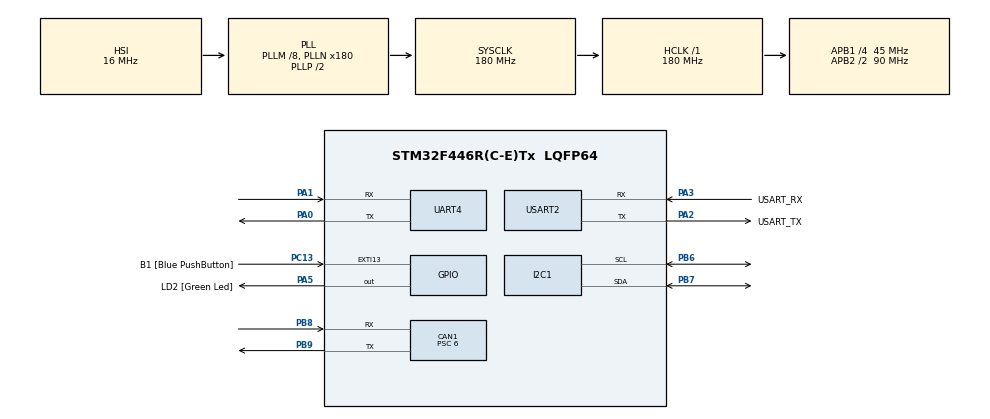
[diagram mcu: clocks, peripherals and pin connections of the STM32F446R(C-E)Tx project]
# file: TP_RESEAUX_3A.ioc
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CAN1.BS1=CAN_BS1_12TQ
CAN1.BS2=CAN_BS2_2TQ
CAN1.CalculateBaudRate=500000
CAN1.CalculateTimeBit=1999
CAN1.CalculateTimeQuantum=133.33333333333331
CAN1.Prescaler=6
Mcu.Family=STM32F4
Mcu.Name=STM32F446R(C-E)Tx
Mcu.Package=LQFP64
NVIC.PriorityGroup=NVIC_PRIORITYGROUP_0
NVIC.UART4_IRQn=true\:0\:0\:false\:false\:true\:true\:true\:true
PA0-WKUP.Mode=Asynchronous
PA0-WKUP.Signal=UART4_TX
PA1.Mode=Asynchronous
PA1.Signal=UART4_RX
PA13.GPIO_Label=TMS
PA13.Mode=Serial_Wire
PA13.Signal=SYS_JTMS-SWDIO
PA14.GPIO_Label=TCK
PA14.Mode=Serial_Wire
PA14.Signal=SYS_JTCK-SWCLK
PA2.GPIO_Label=USART_TX
PA2.Mode=Asynchronous
PA2.Signal=USART2_TX
PA3.GPIO_Label=USART_RX
PA3.Mode=Asynchronous
PA3.Signal=USART2_RX
PA5.GPIO_Label=LD2 [Green Led]
PA5.Signal=GPIO_Output
PB3.GPIO_Label=SWO
PB3.Signal=SYS_JTDO-SWO
PB6.Mode=I2C
PB6.Signal=I2C1_SCL
PB7.Mode=I2C
PB7.Signal=I2C1_SDA
PB8.Mode=CAN_Activate
PB8.Signal=CAN1_RX
PB9.Mode=CAN_Activate
PB9.Signal=CAN1_TX
PC13.GPIO_Label=B1 [Blue PushButton]
PC13.GPIO_ModeDefaultEXTI=GPIO_MODE_IT_FALLING
PC13.Signal=GPXTI13
PC14-OSC32_IN.Mode=LSE-External-Oscillator
PC14-OSC32_IN.Signal=RCC_OSC32_IN
PC15-OSC32_OUT.Mode=LSE-External-Oscillator
PC15-OSC32_OUT.Signal=RCC_OSC32_OUT
PH0-OSC_IN.Mode=HSE-External-Oscillator
PH0-OSC_IN.Signal=RCC_OSC_IN
PH1-OSC_OUT.Mode=HSE-External-Oscillator
PH1-OSC_OUT.Signal=RCC_OSC_OUT
ProjectManager.HeapSize=0x200
ProjectManager.StackSize=0x400
ProjectManager.TargetToolchain=STM32CubeIDE
RCC.48MHZClocksFreq_Value=84000000
RCC.AHBFreq_Value=180000000
RCC.APB1CLKDivider=RCC_HCLK_DIV4
RCC.APB1Freq_Value=45000000
RCC.APB1TimFreq_Value=90000000
RCC.APB2CLKDivider=RCC_HCLK_DIV2
RCC.APB2Freq_Value=90000000
RCC.APB2TimFreq_Value=180000000
RCC.CortexFreq_Value=180000000
RCC.FLatency-AdvancedSettings=FLASH_LATENCY_5
RCC.HCLKFreq_Value=180000000
RCC.HSE_VALUE=8000000
RCC.HSI_VALUE=16000000
RCC.PLLM=8
RCC.PLLN=180
RCC.SYSCLKFreq_VALUE=180000000
RCC.SYSCLKSource=RCC_SYSCLKSOURCE_PLLCLK
RCC.USBFreq_Value=180000000
RCC.VCOOutputFreq_Value=360000000
UART4.VirtualMode=Asynchronous
USART2.VirtualMode=VM_ASYNC
board=NUCLEO-F446RE

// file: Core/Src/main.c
/* USER CODE BEGIN Header */
/**
  ******************************************************************************
  * @file           : main.c
  * @brief          : Main program body
  ******************************************************************************
  * @attention
  *
  * Copyright (c) 2023 STMicroelectronics.
  * All rights reserved.
  *
  * This software is licensed under terms that can be found in the LICENSE file
  * in the root directory of this software component.
  * If no LICENSE file comes with this software, it is provided AS-IS.
  *
  ******************************************************************************
  */
/* USER CODE END Header */
#include "main.h"

/* USER CODE BEGIN Includes */
#include "uart4.h"
#include "BMP280.h"
#include "motor.h"
/* USER CODE END Includes */

CAN_HandleTypeDef hcan1;

I2C_HandleTypeDef hi2c1;

UART_HandleTypeDef huart4;
UART_HandleTypeDef huart2;

/* USER CODE BEGIN PV */
BMP280_HandleTypedef bmp280;
bmp280_params_t bmp_params;
enum CMD_type CMD_UART;
/* USER CODE END PV */

void SystemClock_Config(void);
static void MX_GPIO_Init(void);
static void MX_USART2_UART_Init(void);
static void MX_UART4_Init(void);
static void MX_CAN1_Init(void);
static void MX_I2C1_Init(void);

/* USER CODE BEGIN 0 */
extern uint8_t uartTxBuffer;
/* USER CODE END 0 */

int main(void)
{

  /* MCU Configuration--------------------------------------------------------*/

  /* Reset of all peripherals, Initializes the Flash interface and the Systick. */
  HAL_Init();

  /* Configure the system clock */
  SystemClock_Config();

  /* Initialize all configured peripherals */
  MX_GPIO_Init();
  MX_USART2_UART_Init();
  MX_UART4_Init();
  MX_CAN1_Init();
  MX_I2C1_Init();
  /* USER CODE BEGIN 2 */
  Prepare_Receive(&CMD_UART);
  bmp280_init_default_params(&bmp_params);
  bmp280.addr = BMP280_I2C_ADDRESS_1;
  bmp280.i2c = &hi2c1;
  bmp280_init(&bmp280,&bmp_params);
  /* USER CODE END 2 */

  /* Infinite loop */
  /* USER CODE BEGIN WHILE */

  HAL_CAN_Start (&hcan1);
  set_motor_angle(0);
  HAL_Delay(3000);
  reset_motor_angle();

  while (1)
  {
	switch(CMD_UART)
	{
	case Null: break;
	float Tempe = 0.0;
	float Press = 0.0;
	float Humid = 0.0;
	float Angle = 0.0;
	case GET_T:
		bmp280_read_float(&bmp280, &Tempe, &Press, &Humid);
		printf("T = + %2.2f_C\r\n", Tempe);
		Print_RESULT_float(CMD_UART, Tempe);
		CMD_UART = Null ; break;

	case GET_P:
		bmp280_read_float(&bmp280, &Tempe, &Press, &Humid);
		printf("P = %8.0f_Pa\r\n", Press);
		Print_RESULT_float(CMD_UART, Press);
		CMD_UART = Null ; break;

	case SET_K:
		printf("Set_K Cmd recognized \r\n");
		CMD_UART = Null ; break;

	case GET_K:
		printf("Get_K Cmd recognized \r\n");
		Print_RESULT_float(CMD_UART, Null);
		CMD_UART = Null ; break;

	case GET_A:
		Angle = (float)(get_motor_angle());
		printf("A = %3.0f_Pa\r\n", Angle);
		Print_RESULT_float(CMD_UART, Angle);
		CMD_UART = Null ; break;

	case SET_A:
		printf("Set_A Cmd recognized \r\n");
		Print_RESULT_float(CMD_UART,Null);
		CMD_UART = Null ; break;
	}
    /* USER CODE END WHILE */

  }
}

void SystemClock_Config(void)
{
  RCC_OscInitTypeDef RCC_OscInitStruct = {0};
  RCC_ClkInitTypeDef RCC_ClkInitStruct = {0};

  /** Configure the main internal regulator output voltage
  */
  __HAL_RCC_PWR_CLK_ENABLE();
  __HAL_PWR_VOLTAGESCALING_CONFIG(PWR_REGULATOR_VOLTAGE_SCALE1);

  /** Initializes the RCC Oscillators according to the specified parameters
  * in the RCC_OscInitTypeDef structure.
  */
  RCC_OscInitStruct.OscillatorType = RCC_OSCILLATORTYPE_HSI;
  RCC_OscInitStruct.HSIState = RCC_HSI_ON;
  RCC_OscInitStruct.HSICalibrationValue = RCC_HSICALIBRATION_DEFAULT;
  RCC_OscInitStruct.PLL.PLLState = RCC_PLL_ON;
  RCC_OscInitStruct.PLL.PLLSource = RCC_PLLSOURCE_HSI;
  RCC_OscInitStruct.PLL.PLLM = 8;
  RCC_OscInitStruct.PLL.PLLN = 180;
  RCC_OscInitStruct.PLL.PLLP = RCC_PLLP_DIV2;
  RCC_OscInitStruct.PLL.PLLQ = 2;
  RCC_OscInitStruct.PLL.PLLR = 2;
  if (HAL_RCC_OscConfig(&RCC_OscInitStruct) != HAL_OK)
  {
    Error_Handler();
  }

  /** Activate the Over-Drive mode
  */
  if (HAL_PWREx_EnableOverDrive() != HAL_OK)
  {
    Error_Handler();
  }

  /** Initializes the CPU, AHB and APB buses clocks
  */
  RCC_ClkInitStruct.ClockType = RCC_CLOCKTYPE_HCLK|RCC_CLOCKTYPE_SYSCLK
                              |RCC_CLOCKTYPE_PCLK1|RCC_CLOCKTYPE_PCLK2;
  RCC_ClkInitStruct.SYSCLKSource = RCC_SYSCLKSOURCE_PLLCLK;
  RCC_ClkInitStruct.AHBCLKDivider = RCC_SYSCLK_DIV1;
  RCC_ClkInitStruct.APB1CLKDivider = RCC_HCLK_DIV4;
  RCC_ClkInitStruct.APB2CLKDivider = RCC_HCLK_DIV2;

  if (HAL_RCC_ClockConfig(&RCC_ClkInitStruct, FLASH_LATENCY_5) != HAL_OK)
  {
    Error_Handler();
  }
}

static void MX_CAN1_Init(void)
{

  hcan1.Instance = CAN1;
  hcan1.Init.Prescaler = 6;
  hcan1.Init.Mode = CAN_MODE_NORMAL;
  hcan1.Init.SyncJumpWidth = CAN_SJW_1TQ;
  hcan1.Init.TimeSeg1 = CAN_BS1_12TQ;
  hcan1.Init.TimeSeg2 = CAN_BS2_2TQ;
  hcan1.Init.TimeTriggeredMode = DISABLE;
  hcan1.Init.AutoBusOff = DISABLE;
  hcan1.Init.AutoWakeUp = DISABLE;
  hcan1.Init.AutoRetransmission = DISABLE;
  hcan1.Init.ReceiveFifoLocked = DISABLE;
  hcan1.Init.TransmitFifoPriority = DISABLE;
  if (HAL_CAN_Init(&hcan1) != HAL_OK)
  {
    Error_Handler();
  }

}

static void MX_I2C1_Init(void)
{

  hi2c1.Instance = I2C1;
  hi2c1.Init.ClockSpeed = 100000;
  hi2c1.Init.DutyCycle = I2C_DUTYCYCLE_2;
  hi2c1.Init.OwnAddress1 = 0;
  hi2c1.Init.AddressingMode = I2C_ADDRESSINGMODE_7BIT;
  hi2c1.Init.DualAddressMode = I2C_DUALADDRESS_DISABLE;
  hi2c1.Init.OwnAddress2 = 0;
  hi2c1.Init.GeneralCallMode = I2C_GENERALCALL_DISABLE;
  hi2c1.Init.NoStretchMode = I2C_NOSTRETCH_DISABLE;
  if (HAL_I2C_Init(&hi2c1) != HAL_OK)
  {
    Error_Handler();
  }

}

static void MX_UART4_Init(void)
{

  huart4.Instance = UART4;
  huart4.Init.BaudRate = 115200;
  huart4.Init.WordLength = UART_WORDLENGTH_8B;
  huart4.Init.StopBits = UART_STOPBITS_1;
  huart4.Init.Parity = UART_PARITY_NONE;
  huart4.Init.Mode = UART_MODE_TX_RX;
  huart4.Init.HwFlowCtl = UART_HWCONTROL_NONE;
  huart4.Init.OverSampling = UART_OVERSAMPLING_16;
  if (HAL_UART_Init(&huart4) != HAL_OK)
  {
    Error_Handler();
  }

}

static void MX_USART2_UART_Init(void)
{

  huart2.Instance = USART2;
  huart2.Init.BaudRate = 115200;
  huart2.Init.WordLength = UART_WORDLENGTH_8B;
  huart2.Init.StopBits = UART_STOPBITS_1;
  huart2.Init.Parity = UART_PARITY_NONE;
  huart2.Init.Mode = UART_MODE_TX_RX;
  huart2.Init.HwFlowCtl = UART_HWCONTROL_NONE;
  huart2.Init.OverSampling = UART_OVERSAMPLING_16;
  if (HAL_UART_Init(&huart2) != HAL_OK)
  {
    Error_Handler();
  }

}

static void MX_GPIO_Init(void)
{
  GPIO_InitTypeDef GPIO_InitStruct = {0};

  /* GPIO Ports Clock Enable */
  __HAL_RCC_GPIOC_CLK_ENABLE();
  __HAL_RCC_GPIOH_CLK_ENABLE();
  __HAL_RCC_GPIOA_CLK_ENABLE();
  __HAL_RCC_GPIOB_CLK_ENABLE();

  /*Configure GPIO pin Output Level */
  HAL_GPIO_WritePin(LD2_GPIO_Port, LD2_Pin, GPIO_PIN_RESET);

  /*Configure GPIO pin : B1_Pin */
  GPIO_InitStruct.Pin = B1_Pin;
  GPIO_InitStruct.Mode = GPIO_MODE_IT_FALLING;
  GPIO_InitStruct.Pull = GPIO_NOPULL;
  HAL_GPIO_Init(B1_GPIO_Port, &GPIO_InitStruct);

  /*Configure GPIO pin : LD2_Pin */
  GPIO_InitStruct.Pin = LD2_Pin;
  GPIO_InitStruct.Mode = GPIO_MODE_OUTPUT_PP;
  GPIO_InitStruct.Pull = GPIO_NOPULL;
  GPIO_InitStruct.Speed = GPIO_SPEED_FREQ_LOW;
  HAL_GPIO_Init(LD2_GPIO_Port, &GPIO_InitStruct);

}

void Error_Handler(void)
{
  __disable_irq();
  while (1)
  {
  }
}
